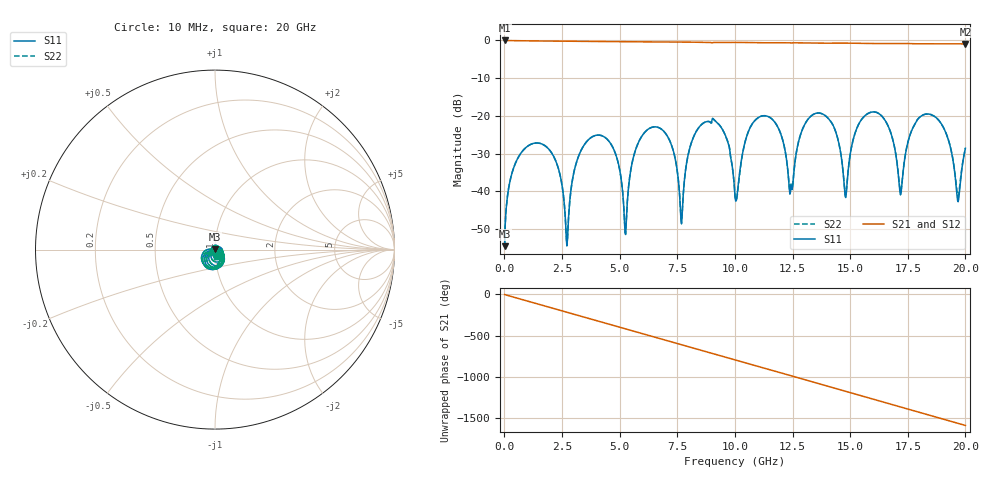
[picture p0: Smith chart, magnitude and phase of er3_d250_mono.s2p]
! Stitch-rule transferability - stripline, 2 mm stitch pitch, cut at x=20 mm
! Case: er3_d250_mono
! Sweep: 10 MHz - 20 GHz, 25 MHz step, 4 cores
# GHz S MA R 50.000000
! Terminal data exported
! Port[1] = U1.PAD1.SIG
! Port[2] = U2.PAD1.SIG
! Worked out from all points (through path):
!   801 points, 10 MHz to 20 GHz, reference 50 ohm
!   highest |S21| = -0.01 dB at 10 MHz (marker M1); lowest = -0.9 dB at 20 GHz (marker M2)
!   group delay of S21, straight-line fit = 221 ps
!   lowest |S11| = -54.6 dB at 10 MHz (marker M3), VSWR 1.00, Z = 50.1 + j0.116 ohm
!   |S11| at or under -10 dB: start of sweep to end of sweep
!   |S22| runs from -54.6 to -18.9 dB; largest |S21 - S12| = 0
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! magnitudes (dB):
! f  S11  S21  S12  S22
! 10 MHz  -54.6  0.0  0.0  -54.6
! 860 MHz  -28.8  -0.1  -0.1  -28.8
! 2.11 GHz  -30.4  -0.2  -0.2  -30.4
! 2.71 GHz  -54.5  -0.2  -0.2  -54.4
! 3.36 GHz  -28.8  -0.2  -0.2  -28.8
! 4.585 GHz  -27.1  -0.3  -0.3  -27.1
! 5.26 GHz  -51.5  -0.3  -0.3  -51.2
! 5.76 GHz  -27.9  -0.4  -0.4  -27.9
! 6.685 GHz  -23.1  -0.4  -0.4  -23.1
! 7.66 GHz  -47.4  -0.4  -0.4  -47.1
! 8.76 GHz  -21.6  -0.5  -0.5  -21.6
! 10.01 GHz  -41.8  -0.5  -0.5  -41.6
! 11.26 GHz  -20.0  -0.6  -0.6  -20.0
! 12.44 GHz  -38.4  -0.7  -0.7  -38.1
! 13.36 GHz  -19.8  -0.7  -0.7  -19.8
! 14.81 GHz  -41.7  -0.7  -0.7  -41.1
! 15.51 GHz  -20.8  -0.8  -0.8  -20.8
! 16.68 GHz  -23.2  -0.8  -0.8  -23.2
! 17.18 GHz  -41.0  -0.8  -0.8  -40.2
! 18.14 GHz  -19.9  -0.9  -0.9  -19.8
! 19.66 GHz  -42.4  -0.9  -0.9  -41.0
! 20 GHz  -28.6  -0.9  -0.9  -28.6
